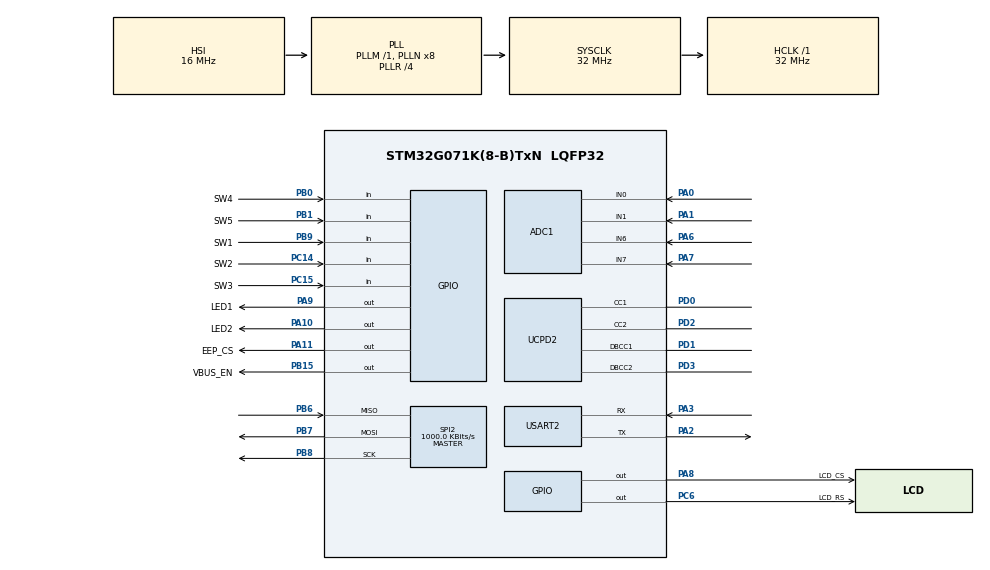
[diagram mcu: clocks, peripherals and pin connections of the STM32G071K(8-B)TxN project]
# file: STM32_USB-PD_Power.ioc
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ADC1.Channel-0\#ChannelRegularConversion=ADC_CHANNEL_0
ADC1.ClockPrescaler=ADC_CLOCK_ASYNC_DIV4
ADC1.NbrOfConversion=1
ADC1.NbrOfConversionFlag=1
ADC1.OversamplingMode=ENABLE
ADC1.Rank-0\#ChannelRegularConversion=1
ADC1.Ratio=ADC_OVERSAMPLING_RATIO_16
ADC1.RightBitShift=ADC_RIGHTBITSHIFT_4
ADC1.SamplingTime-0\#ChannelRegularConversion=ADC_SAMPLINGTIME_COMMON_1
ADC1.SamplingTimeCommon1=ADC_SAMPLETIME_79CYCLES_5
ADC1.SelectedChannel=ADC_CHANNEL_0|ADC_CHANNEL_1|ADC_CHANNEL_6|ADC_CHANNEL_7|ADC_CHANNEL_VREFINT
ADC1.master=1
Dma.Request0=UCPD2_RX
Dma.Request1=UCPD2_TX
Dma.Request2=USART2_TX
Dma.UCPD2_RX.0.Direction=DMA_PERIPH_TO_MEMORY
Dma.UCPD2_RX.0.EventEnable=DISABLE
Dma.UCPD2_RX.0.Instance=DMA1_Channel1
Dma.UCPD2_RX.0.MemDataAlignment=DMA_MDATAALIGN_BYTE
Dma.UCPD2_RX.0.MemInc=DMA_MINC_ENABLE
Dma.UCPD2_RX.0.Mode=DMA_NORMAL
Dma.UCPD2_RX.0.PeriphDataAlignment=DMA_PDATAALIGN_BYTE
Dma.UCPD2_RX.0.PeriphInc=DMA_PINC_DISABLE
Dma.UCPD2_RX.0.Polarity=HAL_DMAMUX_REQ_GEN_RISING
Dma.UCPD2_RX.0.Priority=DMA_PRIORITY_LOW
Dma.UCPD2_RX.0.RequestNumber=1
Dma.UCPD2_RX.0.SignalID=NONE
Dma.UCPD2_RX.0.SyncEnable=DISABLE
Dma.UCPD2_RX.0.SyncPolarity=HAL_DMAMUX_SYNC_NO_EVENT
Dma.UCPD2_RX.0.SyncRequestNumber=1
Dma.UCPD2_RX.0.SyncSignalID=NONE
Dma.UCPD2_TX.1.Direction=DMA_MEMORY_TO_PERIPH
Dma.UCPD2_TX.1.EventEnable=DISABLE
Dma.UCPD2_TX.1.Instance=DMA1_Channel2
Dma.UCPD2_TX.1.MemDataAlignment=DMA_MDATAALIGN_BYTE
Dma.UCPD2_TX.1.MemInc=DMA_MINC_ENABLE
Dma.UCPD2_TX.1.Mode=DMA_NORMAL
Dma.UCPD2_TX.1.PeriphDataAlignment=DMA_PDATAALIGN_BYTE
Dma.UCPD2_TX.1.PeriphInc=DMA_PINC_DISABLE
Dma.UCPD2_TX.1.Polarity=HAL_DMAMUX_REQ_GEN_RISING
Dma.UCPD2_TX.1.Priority=DMA_PRIORITY_LOW
Dma.UCPD2_TX.1.RequestNumber=1
Dma.UCPD2_TX.1.SignalID=NONE
Dma.UCPD2_TX.1.SyncEnable=DISABLE
Dma.UCPD2_TX.1.SyncPolarity=HAL_DMAMUX_SYNC_NO_EVENT
Dma.UCPD2_TX.1.SyncRequestNumber=1
Dma.UCPD2_TX.1.SyncSignalID=NONE
Dma.USART2_TX.2.Direction=DMA_MEMORY_TO_PERIPH
Dma.USART2_TX.2.EventEnable=DISABLE
Dma.USART2_TX.2.Instance=DMA1_Channel4
Dma.USART2_TX.2.MemDataAlignment=DMA_MDATAALIGN_BYTE
Dma.USART2_TX.2.MemInc=DMA_MINC_ENABLE
Dma.USART2_TX.2.Mode=DMA_NORMAL
Dma.USART2_TX.2.PeriphDataAlignment=DMA_PDATAALIGN_BYTE
Dma.USART2_TX.2.PeriphInc=DMA_PINC_DISABLE
Dma.USART2_TX.2.Polarity=HAL_DMAMUX_REQ_GEN_RISING
Dma.USART2_TX.2.Priority=DMA_PRIORITY_LOW
Dma.USART2_TX.2.RequestNumber=1
Dma.USART2_TX.2.SignalID=NONE
Dma.USART2_TX.2.SyncEnable=DISABLE
Dma.USART2_TX.2.SyncPolarity=HAL_DMAMUX_SYNC_NO_EVENT
Dma.USART2_TX.2.SyncRequestNumber=1
Dma.USART2_TX.2.SyncSignalID=NONE
FREERTOS.Tasks01=defaultTask,0,128,StartDefaultTask,Default,NULL,Dynamic,NULL,NULL
FREERTOS.configTOTAL_HEAP_SIZE=7000
FREERTOS.configUSE_NEWLIB_REENTRANT=1
Mcu.Family=STM32G0
Mcu.Name=STM32G071K(8-B)TxN
Mcu.Package=LQFP32
NVIC.ADC1_COMP_IRQn=true\:3\:0\:false\:false\:true\:true\:true\:true\:true
NVIC.DMA1_Ch4_7_DMAMUX1_OVR_IRQn=true\:0\:0\:false\:false\:true\:false\:false\:true\:true
NVIC.DMA1_Channel1_IRQn=true\:3\:0\:false\:false\:true\:true\:false\:true\:true
NVIC.DMA1_Channel2_3_IRQn=true\:3\:0\:false\:false\:true\:true\:false\:true\:true
NVIC.SPI2_IRQn=true\:3\:0\:false\:false\:true\:true\:true\:true\:true
NVIC.TIM2_IRQn=true\:3\:0\:false\:false\:true\:true\:true\:true\:true
NVIC.UCPD1_2_IRQn=true\:3\:0\:false\:false\:true\:true\:true\:false\:true
NVIC.USART2_IRQn=true\:3\:0\:false\:false\:true\:true\:true\:true\:true
PA0.Mode=IN0
PA0.Signal=ADC1_IN0
PA1.Mode=IN1
PA1.Signal=ADC1_IN1
PA10.GPIO_Label=LED2
PA10.Signal=GPIO_Output
PA11\ [PA9].GPIO_Label=EEP_CS
PA11\ [PA9].PinState=GPIO_PIN_RESET
PA11\ [PA9].Signal=GPIO_Output
PA13.Mode=Serial_Wire
PA13.Signal=SYS_SWDIO
PA14-BOOT0.Mode=Serial_Wire
PA14-BOOT0.Signal=SYS_SWCLK
PA2.Mode=Asynchronous
PA2.Signal=USART2_TX
PA3.Mode=Asynchronous
PA3.Signal=USART2_RX
PA6.Mode=IN6
PA6.Signal=ADC1_IN6
PA7.Mode=IN7
PA7.Signal=ADC1_IN7
PA8.GPIO_Label=LCD_CS
PA8.PinState=GPIO_PIN_SET
PA8.Signal=GPIO_Output
PA9.GPIO_Label=LED1
PA9.Signal=GPIO_Output
PB0.GPIO_Label=SW4
PB0.GPIO_PuPd=GPIO_PULLUP
PB0.Signal=GPIO_Input
PB1.GPIO_Label=SW5
PB1.GPIO_PuPd=GPIO_PULLUP
PB1.Signal=GPIO_Input
PB15.GPIO_Label=VBUS_EN
PB15.Signal=GPIO_Output
PB6.Mode=Full_Duplex_Master
PB6.Signal=SPI2_MISO
PB7.Mode=Full_Duplex_Master
PB7.Signal=SPI2_MOSI
PB8.Mode=Full_Duplex_Master
PB8.Signal=SPI2_SCK
PB9.GPIO_Label=SW1
PB9.GPIO_PuPd=GPIO_PULLUP
PB9.Signal=GPIO_Input
PC14-OSC32_IN\ (PC14).GPIO_Label=SW2
PC14-OSC32_IN\ (PC14).GPIO_PuPd=GPIO_PULLUP
PC14-OSC32_IN\ (PC14).Signal=GPIO_Input
PC15-OSC32_OUT\ (PC15).GPIO_Label=SW3
PC15-OSC32_OUT\ (PC15).GPIO_PuPd=GPIO_PULLUP
PC15-OSC32_OUT\ (PC15).Signal=GPIO_Input
PC6.GPIO_Label=LCD_RS
PC6.Signal=GPIO_Output
PD0.Mode=Sink_AllSignals
PD0.Signal=UCPD2_CC1
PD1.Mode=EnableDeadBattery
PD1.Signal=UCPD2_DBCC1
PD2.Mode=Sink_AllSignals
PD2.Signal=UCPD2_CC2
PD3.Mode=EnableDeadBattery
PD3.Signal=UCPD2_DBCC2
ProjectManager.HeapSize=0x200
ProjectManager.StackSize=0x1000
ProjectManager.TargetToolchain=STM32CubeIDE
RCC.ADCFreq_Value=32000000
RCC.AHBFreq_Value=32000000
RCC.CortexFreq_Value=32000000
RCC.EXTERNAL_CLOCK_VALUE=48000
RCC.HCLKFreq_Value=32000000
RCC.HSE_VALUE=8000000
RCC.HSI_VALUE=16000000
RCC.LSE_VALUE=32768
RCC.PLLR=RCC_PLLR_DIV4
RCC.SYSCLKFreq_VALUE=32000000
RCC.SYSCLKSource=RCC_SYSCLKSOURCE_PLLCLK
RCC.VCOOutputFreq_Value=128000000
SPI2.BaudRatePrescaler=SPI_BAUDRATEPRESCALER_32
SPI2.CLKPhase=SPI_PHASE_2EDGE
SPI2.CLKPolarity=SPI_POLARITY_HIGH
SPI2.CalculateBaudRate=1000.0 KBits/s
SPI2.DataSize=SPI_DATASIZE_8BIT
SPI2.Direction=SPI_DIRECTION_2LINES
SPI2.Mode=SPI_MODE_MASTER
SPI2.VirtualType=VM_MASTER
TIM2.Period=3200000
USART2.VirtualMode-Asynchronous=VM_ASYNC
VP_ADC1_Vref_Input.Mode=IN-Vrefint
VP_FREERTOS_VS_CMSIS_V1.Mode=CMSIS_V1
VP_SYS_VS_DBSignals.Mode=DisableDeadBatterySignals
VP_TIM2_VS_ClockSourceINT.Mode=Internal
VP_TRACER_EMB_VS_traceremb_usart2.Mode=TRACER_EMB_USART2
VP_USBPD_VS_PD3FULL.Mode=PD3_Full_Stack
VP_USBPD_VS_USBPD2.Mode=USBPD_P0
VP_USBPD_VS_usbpd_tim1.Mode=TIM1
VP_USBPD_VS_usbpd_traceremb.Mode=TRACER_EMB
board=custom

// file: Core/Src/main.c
/* USER CODE BEGIN Header */
/**
  ******************************************************************************
  * @file           : main.c
  * @brief          : Main program body
  ******************************************************************************
  * @attention
  *
  * Copyright (c) 2023 STMicroelectronics.
  * All rights reserved.
  *
  * This software is licensed under terms that can be found in the LICENSE file
  * in the root directory of this software component.
  * If no LICENSE file comes with this software, it is provided AS-IS.
  *
  ******************************************************************************
  *
  * [23/06/28] Modified by H.Yamada
  * rev_c1815@yahoo.co.jp
  *
  */
/* USER CODE END Header */
#include "main.h"
#include "cmsis_os.h"
#include "usbpd.h"

/* USER CODE BEGIN Includes */
#include "string.h"
#include "AQM1248_Driver.h"
/* USER CODE END Includes */

ADC_HandleTypeDef hadc1;

SPI_HandleTypeDef hspi2;

TIM_HandleTypeDef htim2;

UART_HandleTypeDef huart2;
DMA_HandleTypeDef hdma_usart2_tx;

osThreadId defaultTaskHandle;
/* USER CODE BEGIN PV */

uint8_t  g_receivedPDOSize, g_receivedFirstAPDOIdx;
USBPD_PDO_TypeDef g_receivedPDO[16];

uint8_t g_curRequestPDOIndex; //  (object position of PDO) - 1
// g_curRequestPDOIndex is determined and updated by USBPD_DPM_SNK_EvaluateCapabilities() function.
// do not change at main routine. just change g_fixedVoltageLevel

USBPD_SNKRDO_TypeDef g_curActiveRDO;
uint8_t  g_isPPSMode; // set when launched or PDO received
uint16_t g_fixedVoltageLevel; // mV
uint16_t g_ppsVoltageRange[2], g_ppsVoltageLevel; // min, max. in mV

volatile uint8_t g_ledState;
uint8_t g_srcPDOReceived;

void SetPPSVoltageLevel(uint16_t newLevel)
{
	g_ppsVoltageLevel = newLevel;
	// store to EEPROM
}
/*
void CurRDO_SetVoltage(uint16_t newVoltage)
{
	if(!IS_PPS_MODE()) return;
	g_curActiveRDO.ProgRDO.OutputVoltageIn20mV = newVoltage/20;
}*/
uint16_t CurRDO_GetVoltage()
{
	if(!IS_PPS_MODE()) {
		return g_receivedPDO[g_curRequestPDOIndex].SRCFixedPDO.VoltageIn50mVunits * 50;
	}
	else
	{
		return g_curActiveRDO.ProgRDO.OutputVoltageIn20mV * 20;
	}
}

uint16_t CurRDO_GetCurrent()
{
	if(!IS_PPS_MODE()) {
		return g_receivedPDO[g_curRequestPDOIndex].SRCFixedPDO.MaxCurrentIn10mAunits * 10;
	}
	else
	{
		return g_curActiveRDO.ProgRDO.OperatingCurrentIn50mAunits * 50;
	}
}

//#define VREF_VOLTAGE 3300
static uint16_t GetVREFVoltage()
{
	// VREF+: unknown, range of 2.0V - 3.3V
	uint16_t vrefVoltage = 2000;
	if(g_adcData[3]){
		vrefVoltage = 1212 * 4096 / g_adcData[3];
	}
	return vrefVoltage;
}
#define DIVIDER_RATIO 11 // External voltage divider ratio
uint16_t GetVBUSVoltage() // result is in 10 mV scale
{

	uint16_t ret = (uint32_t)g_adcData[0] * GetVREFVoltage() / 4096 * DIVIDER_RATIO / 10;
	return ret;
}
#define CURRENT_AMP_RATIO 1 // 1V/1A
uint16_t GetVBUSCurrent() // result is in 1 mA scale
{
	uint16_t ret = (uint32_t)g_adcData[2] * GetVREFVoltage() / 4096 * CURRENT_AMP_RATIO;
	return ret;
}

USBPD_StatusTypeDef SendRequest()
{
//	return USBPD_DPM_RequestMessageRequest(0, g_curRequestPDOIndex, 0 ); // Request
	return USBPD_DPM_RequestGetSourceCapability(0); // Source_Cap -> Request
}

// EEPROM Load & Save
struct sEEPData
{
	uint8_t ppsMode; // last time was it pps mode ?
	uint16_t ppsVoltage;
	uint16_t fixedVoltage;
};
// EEPROM AT93C56 (256x8)
// Command length: (4bit 0) + 3bit command + 9bit address + 8bit data
void EEPROM_WriteEnable()
{
	uint8_t txData[3] = {0x09, 0x80, 0x00};
	HAL_GPIO_WritePin(EEP_CS_GPIO_Port, EEP_CS_Pin, GPIO_PIN_SET);
	HAL_SPI_Transmit(&hspi2, txData, 3, 100);
//	HAL_SPI_Transmit_IT(&hspi2, txData, 3);
	HAL_GPIO_WritePin(EEP_CS_GPIO_Port, EEP_CS_Pin, GPIO_PIN_RESET);
}
void EEPROM_WriteDisable()
{
	uint8_t txData[3] = {0x08, 0x00, 0x00};
	HAL_GPIO_WritePin(EEP_CS_GPIO_Port, EEP_CS_Pin, GPIO_PIN_SET);
	HAL_SPI_Transmit(&hspi2, txData, 3, 100);
//	HAL_SPI_Transmit_IT(&hspi2, txData, 3);
	HAL_GPIO_WritePin(EEP_CS_GPIO_Port, EEP_CS_Pin, GPIO_PIN_RESET);
}
void EEPROM_Write(uint16_t addr, uint8_t data)
{
	HAL_GPIO_WritePin(EEP_CS_GPIO_Port, EEP_CS_Pin, GPIO_PIN_SET);
	uint8_t txData[3] = {0x0A | ((addr >> 8) & 1), addr, data};
//	uint8_t txData[3] = {0xA0 | 0, data>>4, data<<4};
//	uint8_t txData[3] = {0x0A, 0, data};
	HAL_SPI_Transmit(&hspi2, txData, 3, 100);
//	HAL_SPI_Transmit_IT(&hspi2, txData, 3);

	HAL_GPIO_WritePin(EEP_CS_GPIO_Port, EEP_CS_Pin, GPIO_PIN_RESET);
	// tWP: max. 10ms
	osDelay(10);
}
uint8_t EEPROM_Read(uint16_t addr)
{
	HAL_GPIO_WritePin(EEP_CS_GPIO_Port, EEP_CS_Pin, GPIO_PIN_SET);
	uint8_t txData[3] = {(0x0C<<1) | ((addr >> 7) & 3), (addr << 1), 0};
//	uint8_t txData[3] = {0xC0 | ((addr >> 8) & 1), addr, 0};
	uint8_t rxData[3];
	HAL_SPI_TransmitReceive(&hspi2, txData, rxData, 3, 100);
//	HAL_SPI_TransmitReceive_IT(&hspi2, txData, rxData, 3);

	HAL_GPIO_WritePin(EEP_CS_GPIO_Port, EEP_CS_Pin, GPIO_PIN_RESET);
	return rxData[2];
//	return (rxData[1] << 4) | (rxData[2] >> 4);
}
void EEPROM_Save(const struct sEEPData* pData)
{
	// set CPOL=0, CPHA=0
//	uint32_t cr1_restore = hspi2.Instance->CR1;
//	hspi2.Instance->CR1 &= ~0x03;
//	HAL_SPI_Transmit(&hspi2, (uint8_t*)pData, 1, 100); // dummy

	EEPROM_WriteEnable();

	// update checksum
	uint8_t cs = 0;
	uint8_t* p = (uint8_t*)pData;
	uint16_t i;
	for(i=0; i<sizeof(struct sEEPData); i++) cs += p[i];
	EEPROM_Write(0x00, ~cs);

	for(i=0; i<sizeof(struct sEEPData); i++)
	{
		EEPROM_Write(0x02 + i, p[i]);
	}

	EEPROM_WriteDisable();

	// restore
//	hspi2.Instance->CR1 = cr1_restore;
//	HAL_SPI_Transmit(&hspi2, (uint8_t*)pData, 1, 100); // dummy
}
uint8_t g_cs;
uint8_t EEPROM_Load(struct sEEPData* pData)
{
	// set CPOL=0, CPHA=0
//	uint32_t cr1_restore = hspi2.Instance->CR1;
//	hspi2.Instance->CR1 &= ~0x03;
//	HAL_SPI_Transmit(&hspi2, (uint8_t*)pData, 1, 100); // dummy

	struct sEEPData temp;
	uint8_t cs_read = ~EEPROM_Read(0x00);
	uint16_t i;
	uint8_t cs = 0;
	uint8_t* p = (uint8_t*)&temp;
	for(i=0; i<sizeof(temp); i++)
	{
		cs += p[i] = EEPROM_Read(0x02 + i);
	}

	g_cs = cs_read;

	// restore
//	hspi2.Instance->CR1 = cr1_restore;
//	HAL_SPI_Transmit(&hspi2, (uint8_t*)pData, 1, 100); // dummy

	// Checksum
	if(cs == cs_read) *pData = temp;
	else return -1;
	return 0;
}

// Switch handler
void SwitchHandler(uint8_t swState)
{
	static uint8_t outEnable;

	char text[64];
	switch(swState)
	{
	case (SW_SW1 | SW_LONG):
		outEnable ^= 1;
//		HAL_GPIO_WritePin(LED3_GPIO_Port, LED3_Pin,
//				(outEnable)? GPIO_PIN_SET: GPIO_PIN_RESET);
		HAL_GPIO_WritePin(VBUS_EN_GPIO_Port, VBUS_EN_Pin,
				(outEnable)? GPIO_PIN_SET: GPIO_PIN_RESET);
		break;
	case (SW_SW2 | SW_PUSHING):
		if(IS_PPS_MODE())
		{
			// PPS
			if(HAL_GPIO_ReadPin(SW5_GPIO_Port, SW5_Pin) == GPIO_PIN_RESET ||
					outEnable == 0) // Voltage change is allowed
			{
				// Increase voltage
				uint16_t newVoltage = (g_ppsVoltageLevel + 100)/100 * 100;
				if(newVoltage <= g_ppsVoltageRange[1])
				{
					SetPPSVoltageLevel(newVoltage);
					SendRequest();
					//USBPD_DPM_RequestGetSourceCapability(0); //
				}
			}
		}
		break;
	case SW_SW2: // +
		if(IS_PPS_MODE())
		{
			// PPS
			if(HAL_GPIO_ReadPin(SW5_GPIO_Port, SW5_Pin) == GPIO_PIN_RESET ||
					outEnable == 0) // Voltage change is allowed
			{
				// Increase voltage
				uint16_t newVoltage = g_ppsVoltageLevel + 20;
				if(newVoltage <= g_ppsVoltageRange[1])
				{
					SetPPSVoltageLevel(newVoltage);
					SendRequest();
					//USBPD_DPM_RequestGetSourceCapability(0); //
				}
			}
		}
		else
		{
			// Fixed voltage
			if(outEnable == 0) // Voltage change is allowed
			{
				// Change VBUS Voltage
				if(g_curRequestPDOIndex < g_receivedPDOSize - 1)
				{
					//g_curRequestPDOIndex = (g_curRequestPDOIndex + 1) % g_receivedFirstAPDOIdx;
					if(g_receivedPDO[g_curRequestPDOIndex + 1].GenericPDO.PowerObject == USBPD_CORE_PDO_TYPE_FIXED)
					{
						g_fixedVoltageLevel = g_receivedPDO[g_curRequestPDOIndex + 1].SRCFixedPDO.VoltageIn50mVunits * 50;// just change g_fixedVoltageLevel

						// Requst to send Request message
						SendRequest();
					}
				}
				// Request to send GetSouceCapability for new evaluates
				//USBPD_DPM_RequestGetSourceCapability(0); //
			}
		}
	//	sprintf(text, "PDO Size=%d, PDO[0] = %08X",
	//			g_receivedPDOSize, g_receivedPDO[0]);
	//	USBPD_TRACE_Add(USBPD_TRACE_DEBUG, 0, 0, text, strlen(text)); // trace test
		break;
	case (SW_SW3 | SW_PUSHING):
		if(IS_PPS_MODE())
		{
			// PPS
			if(HAL_GPIO_ReadPin(SW5_GPIO_Port, SW5_Pin) == GPIO_PIN_RESET ||
					outEnable == 0) // Voltage change is allowed
			{
				// Increase voltage
				uint16_t newVoltage = (g_ppsVoltageLevel - 100) / 100 * 100;
				if(newVoltage >= g_ppsVoltageRange[0])
				{
					SetPPSVoltageLevel(newVoltage);
					SendRequest();
				}
			}
		}
		break;
	case SW_SW3: // -
		if(IS_PPS_MODE())
		{
			// PPS
			if(HAL_GPIO_ReadPin(SW5_GPIO_Port, SW5_Pin) == GPIO_PIN_RESET ||
					outEnable == 0) // Voltage change is allowed
			{
				// Increase voltage
				uint16_t newVoltage = g_ppsVoltageLevel - 20;
				if(newVoltage >= g_ppsVoltageRange[0])
				{
					SetPPSVoltageLevel(newVoltage);
					SendRequest();
				}
			}
		}
		else
		{
			// Fixed voltage
			if(outEnable == 0) // Voltage change is allowed
			{
				// Change VBUS Voltage
				if(g_curRequestPDOIndex)
				{
					// change request voltage level
					g_fixedVoltageLevel = g_receivedPDO[g_curRequestPDOIndex - 1].SRCFixedPDO.VoltageIn50mVunits * 50;

					// Requst to send Request message
					SendRequest();
				}
				//g_curRequestPDOIndex = g_curRequestPDOIndex? (g_curRequestPDOIndex - 1): 0;

				// Request to send GetSouceCapability for new evaluates
				//USBPD_DPM_RequestGetSourceCapability(0); //
			}
		}
		break;
	case SW_SW4:
		g_dispInfo.displayState ^= 1;

		// Show ADC Data
		//sprintf(text, "ADC=%d,%d,%d,%d",
		//		g_adcData[0], g_adcData[1], g_adcData[2], g_adcData[3]);
		//USBPD_TRACE_Add(USBPD_TRACE_DEBUG, 0, 0, text, strlen(text)); // trace test

		// Show VBUS Voltage
		/*
		{
			uint16_t vbus = GetVBUSVoltage();
			sprintf(text, "VBUS = %01d.%02dV",
					vbus/100, vbus%100);
		}
		USBPD_TRACE_Add(USBPD_TRACE_DEBUG, 0, 0, text, strlen(text)); // trace test
		*/

		// Change VBUS Voltage
		//g_curRequestPDOIndex ^= 1;
		// Requst to send Request message
		//USBPD_DPM_RequestMessageRequest(0, g_curRequestPDOIndex, 0 );
		//USBPD_DPM_RequestGetSourceCapability(0); //

		break;
	}
	// Store new voltage level to eeprom
	if((swState & 0xF) == SW_SW3 || (swState & 0xF) == SW_SW2) // - or +
	{
		struct sEEPData eep;
		eep.ppsMode = g_isPPSMode;
		eep.fixedVoltage = g_fixedVoltageLevel;
		eep.ppsVoltage   = g_ppsVoltageLevel;
		EEPROM_Save(&eep);
	}
}

/* USER CODE END PV */

void SystemClock_Config(void);
static void MX_GPIO_Init(void);
static void MX_DMA_Init(void);
static void MX_UCPD2_Init(void);
static void MX_ADC1_Init(void);
static void MX_SPI2_Init(void);
static void MX_TIM2_Init(void);
static void MX_USART2_UART_Init(void);
void StartDefaultTask(void const * argument);

/* USER CODE BEGIN PFP */

uint32_t g_lastTick;
volatile uint8_t g_swState;

struct sPDDisplayInfo g_dispInfo;
/* USER CODE END PFP */

int main(void)
{

  /* MCU Configuration--------------------------------------------------------*/

  /* Reset of all peripherals, Initializes the Flash interface and the Systick. */
  HAL_Init();

  /* Configure the system clock */
  SystemClock_Config();

  /* Initialize all configured peripherals */
  MX_GPIO_Init();
  MX_DMA_Init();
  MX_UCPD2_Init();
  MX_ADC1_Init();
  MX_SPI2_Init();
  MX_TIM2_Init();
  MX_USART2_UART_Init();
  /* USER CODE BEGIN 2 */

  g_dispInfo.curVoltage = 0;
  g_dispInfo.curCurrent = 0;
  g_dispInfo.pdVersion = 2;
  g_dispInfo.pdStatus = 0;
  g_dispInfo.displayState = 0;
  g_dispInfo.ccStatus = 0;

  g_ledState = LED_STATE_BLINK_RED;

  // call before ADC conversion has started
  HAL_ADCEx_Calibration_Start(&hadc1);

  // Start Timer 2 in Interrupt Mode (invokes ADC starting)
  // (Timer does not start unless user writes code for it)
  HAL_TIM_Base_Start_IT(&htim2);

  AQM1248_Init();

  g_lastTick = HAL_GetTick();
  if(1)
  {
	  struct sEEPData eep;
	  if(EEPROM_Load(&eep) == 0)
	  {
		  g_ppsVoltageLevel = eep.ppsVoltage;
		  g_fixedVoltageLevel = eep.fixedVoltage;
	  }
	  else
	  {
		AQM1248_Clear();
		//                123456789012345678901234567890
		AQM1248_DrawText("EEPROM load failed.", 0, 2);
		  while(HAL_GetTick() < g_lastTick + 1000);
	  }
  }
  else
  {

	  g_fixedVoltageLevel = 9000;
  }

  /* USER CODE END 2 */

  /* USBPD initialisation ---------------------------------*/
  MX_USBPD_Init();

  /* Create the thread(s) */
  /* definition and creation of defaultTask */
  osThreadDef(defaultTask, StartDefaultTask, osPriorityNormal, 0, 128);
  defaultTaskHandle = osThreadCreate(osThread(defaultTask), NULL);

  /* Start scheduler */
  osKernelStart();
  /* We should never get here as control is now taken by the scheduler */
  /* Infinite loop */
  while (1)
  {

  }
}

void SystemClock_Config(void)
{
  RCC_OscInitTypeDef RCC_OscInitStruct = {0};
  RCC_ClkInitTypeDef RCC_ClkInitStruct = {0};

  /** Configure the main internal regulator output voltage
  */
  HAL_PWREx_ControlVoltageScaling(PWR_REGULATOR_VOLTAGE_SCALE1);

  /** Initializes the RCC Oscillators according to the specified parameters
  * in the RCC_OscInitTypeDef structure.
  */
  RCC_OscInitStruct.OscillatorType = RCC_OSCILLATORTYPE_HSI;
  RCC_OscInitStruct.HSIState = RCC_HSI_ON;
  RCC_OscInitStruct.HSIDiv = RCC_HSI_DIV1;
  RCC_OscInitStruct.HSICalibrationValue = RCC_HSICALIBRATION_DEFAULT;
  RCC_OscInitStruct.PLL.PLLState = RCC_PLL_ON;
  RCC_OscInitStruct.PLL.PLLSource = RCC_PLLSOURCE_HSI;
  RCC_OscInitStruct.PLL.PLLM = RCC_PLLM_DIV1;
  RCC_OscInitStruct.PLL.PLLN = 8;
  RCC_OscInitStruct.PLL.PLLP = RCC_PLLP_DIV2;
  RCC_OscInitStruct.PLL.PLLQ = RCC_PLLQ_DIV2;
  RCC_OscInitStruct.PLL.PLLR = RCC_PLLR_DIV4;
  if (HAL_RCC_OscConfig(&RCC_OscInitStruct) != HAL_OK)
  {
    Error_Handler();
  }

  /** Initializes the CPU, AHB and APB buses clocks
  */
  RCC_ClkInitStruct.ClockType = RCC_CLOCKTYPE_HCLK|RCC_CLOCKTYPE_SYSCLK
                              |RCC_CLOCKTYPE_PCLK1;
  RCC_ClkInitStruct.SYSCLKSource = RCC_SYSCLKSOURCE_PLLCLK;
  RCC_ClkInitStruct.AHBCLKDivider = RCC_SYSCLK_DIV1;
  RCC_ClkInitStruct.APB1CLKDivider = RCC_HCLK_DIV1;

  if (HAL_RCC_ClockConfig(&RCC_ClkInitStruct, FLASH_LATENCY_1) != HAL_OK)
  {
    Error_Handler();
  }
}

static void MX_ADC1_Init(void)
{

  ADC_ChannelConfTypeDef sConfig = {0};

  /** Configure the global features of the ADC (Clock, Resolution, Data Alignment and number of conversion)
  */
  hadc1.Instance = ADC1;
  hadc1.Init.ClockPrescaler = ADC_CLOCK_ASYNC_DIV4;
  hadc1.Init.Resolution = ADC_RESOLUTION_12B;
  hadc1.Init.DataAlign = ADC_DATAALIGN_RIGHT;
  hadc1.Init.ScanConvMode = ADC_SCAN_DISABLE;
  hadc1.Init.EOCSelection = ADC_EOC_SINGLE_CONV;
  hadc1.Init.LowPowerAutoWait = DISABLE;
  hadc1.Init.LowPowerAutoPowerOff = DISABLE;
  hadc1.Init.ContinuousConvMode = DISABLE;
  hadc1.Init.NbrOfConversion = 1;
  hadc1.Init.DiscontinuousConvMode = DISABLE;
  hadc1.Init.ExternalTrigConv = ADC_SOFTWARE_START;
  hadc1.Init.ExternalTrigConvEdge = ADC_EXTERNALTRIGCONVEDGE_NONE;
  hadc1.Init.DMAContinuousRequests = DISABLE;
  hadc1.Init.Overrun = ADC_OVR_DATA_PRESERVED;
  hadc1.Init.SamplingTimeCommon1 = ADC_SAMPLETIME_79CYCLES_5;
  hadc1.Init.SamplingTimeCommon2 = ADC_SAMPLETIME_1CYCLE_5;
  hadc1.Init.OversamplingMode = ENABLE;
  hadc1.Init.Oversampling.Ratio = ADC_OVERSAMPLING_RATIO_16;
  hadc1.Init.Oversampling.RightBitShift = ADC_RIGHTBITSHIFT_4;
  hadc1.Init.Oversampling.TriggeredMode = ADC_TRIGGEREDMODE_SINGLE_TRIGGER;
  hadc1.Init.TriggerFrequencyMode = ADC_TRIGGER_FREQ_HIGH;
  if (HAL_ADC_Init(&hadc1) != HAL_OK)
  {
    Error_Handler();
  }

  /** Configure Regular Channel
  */
  sConfig.Channel = ADC_CHANNEL_0;
  sConfig.Rank = ADC_REGULAR_RANK_1;
  sConfig.SamplingTime = ADC_SAMPLINGTIME_COMMON_1;
  if (HAL_ADC_ConfigChannel(&hadc1, &sConfig) != HAL_OK)
  {
    Error_Handler();
  }

}

static void MX_SPI2_Init(void)
{

  /* SPI2 parameter configuration*/
  hspi2.Instance = SPI2;
  hspi2.Init.Mode = SPI_MODE_MASTER;
  hspi2.Init.Direction = SPI_DIRECTION_2LINES;
  hspi2.Init.DataSize = SPI_DATASIZE_8BIT;
  hspi2.Init.CLKPolarity = SPI_POLARITY_HIGH;
  hspi2.Init.CLKPhase = SPI_PHASE_2EDGE;
  hspi2.Init.NSS = SPI_NSS_SOFT;
  hspi2.Init.BaudRatePrescaler = SPI_BAUDRATEPRESCALER_32;
  hspi2.Init.FirstBit = SPI_FIRSTBIT_MSB;
  hspi2.Init.TIMode = SPI_TIMODE_DISABLE;
  hspi2.Init.CRCCalculation = SPI_CRCCALCULATION_DISABLE;
  hspi2.Init.CRCPolynomial = 7;
  hspi2.Init.CRCLength = SPI_CRC_LENGTH_DATASIZE;
  hspi2.Init.NSSPMode = SPI_NSS_PULSE_DISABLE;
  if (HAL_SPI_Init(&hspi2) != HAL_OK)
  {
    Error_Handler();
  }

}

static void MX_TIM2_Init(void)
{

  TIM_ClockConfigTypeDef sClockSourceConfig = {0};
  TIM_MasterConfigTypeDef sMasterConfig = {0};

  htim2.Instance = TIM2;
  htim2.Init.Prescaler = 0;
  htim2.Init.CounterMode = TIM_COUNTERMODE_UP;
  htim2.Init.Period = 3200000;
  htim2.Init.ClockDivision = TIM_CLOCKDIVISION_DIV1;
  htim2.Init.AutoReloadPreload = TIM_AUTORELOAD_PRELOAD_DISABLE;
  if (HAL_TIM_Base_Init(&htim2) != HAL_OK)
  {
    Error_Handler();
  }
  sClockSourceConfig.ClockSource = TIM_CLOCKSOURCE_INTERNAL;
  if (HAL_TIM_ConfigClockSource(&htim2, &sClockSourceConfig) != HAL_OK)
  {
    Error_Handler();
  }
  sMasterConfig.MasterOutputTrigger = TIM_TRGO_RESET;
  sMasterConfig.MasterSlaveMode = TIM_MASTERSLAVEMODE_DISABLE;
  if (HAL_TIMEx_MasterConfigSynchronization(&htim2, &sMasterConfig) != HAL_OK)
  {
    Error_Handler();
  }

}

static void MX_UCPD2_Init(void)
{

  LL_GPIO_InitTypeDef GPIO_InitStruct = {0};

  /* Peripheral clock enable */
  LL_APB1_GRP1_EnableClock(LL_APB1_GRP1_PERIPH_UCPD2);

  LL_IOP_GRP1_EnableClock(LL_IOP_GRP1_PERIPH_GPIOD);
  /**UCPD2 GPIO Configuration
  PD0   ------> UCPD2_CC1
  PD2   ------> UCPD2_CC2
  */
  GPIO_InitStruct.Pin = LL_GPIO_PIN_0;
  GPIO_InitStruct.Mode = LL_GPIO_MODE_ANALOG;
  GPIO_InitStruct.Pull = LL_GPIO_PULL_NO;
  LL_GPIO_Init(GPIOD, &GPIO_InitStruct);

  GPIO_InitStruct.Pin = LL_GPIO_PIN_2;
  GPIO_InitStruct.Mode = LL_GPIO_MODE_ANALOG;
  GPIO_InitStruct.Pull = LL_GPIO_PULL_NO;
  LL_GPIO_Init(GPIOD, &GPIO_InitStruct);

  /* UCPD2 DMA Init */

  /* UCPD2_RX Init */
  LL_DMA_SetPeriphRequest(DMA1, LL_DMA_CHANNEL_1, LL_DMAMUX_REQ_UCPD2_RX);

  LL_DMA_SetDataTransferDirection(DMA1, LL_DMA_CHANNEL_1, LL_DMA_DIRECTION_PERIPH_TO_MEMORY);

  LL_DMA_SetChannelPriorityLevel(DMA1, LL_DMA_CHANNEL_1, LL_DMA_PRIORITY_LOW);

  LL_DMA_SetMode(DMA1, LL_DMA_CHANNEL_1, LL_DMA_MODE_NORMAL);

  LL_DMA_SetPeriphIncMode(DMA1, LL_DMA_CHANNEL_1, LL_DMA_PERIPH_NOINCREMENT);

  LL_DMA_SetMemoryIncMode(DMA1, LL_DMA_CHANNEL_1, LL_DMA_MEMORY_INCREMENT);

  LL_DMA_SetPeriphSize(DMA1, LL_DMA_CHANNEL_1, LL_DMA_PDATAALIGN_BYTE);

  LL_DMA_SetMemorySize(DMA1, LL_DMA_CHANNEL_1, LL_DMA_MDATAALIGN_BYTE);

  /* UCPD2_TX Init */
  LL_DMA_SetPeriphRequest(DMA1, LL_DMA_CHANNEL_2, LL_DMAMUX_REQ_UCPD2_TX);

  LL_DMA_SetDataTransferDirection(DMA1, LL_DMA_CHANNEL_2, LL_DMA_DIRECTION_MEMORY_TO_PERIPH);

  LL_DMA_SetChannelPriorityLevel(DMA1, LL_DMA_CHANNEL_2, LL_DMA_PRIORITY_LOW);

  LL_DMA_SetMode(DMA1, LL_DMA_CHANNEL_2, LL_DMA_MODE_NORMAL);

  LL_DMA_SetPeriphIncMode(DMA1, LL_DMA_CHANNEL_2, LL_DMA_PERIPH_NOINCREMENT);

  LL_DMA_SetMemoryIncMode(DMA1, LL_DMA_CHANNEL_2, LL_DMA_MEMORY_INCREMENT);

  LL_DMA_SetPeriphSize(DMA1, LL_DMA_CHANNEL_2, LL_DMA_PDATAALIGN_BYTE);

  LL_DMA_SetMemorySize(DMA1, LL_DMA_CHANNEL_2, LL_DMA_MDATAALIGN_BYTE);

  /* UCPD2 interrupt Init */
  NVIC_SetPriority(UCPD1_2_IRQn, 3);
  NVIC_EnableIRQ(UCPD1_2_IRQn);

}

static void MX_USART2_UART_Init(void)
{

  huart2.Instance = USART2;
  huart2.Init.BaudRate = 921600;
  huart2.Init.WordLength = UART_WORDLENGTH_8B;
  huart2.Init.StopBits = UART_STOPBITS_1;
  huart2.Init.Parity = UART_PARITY_NONE;
  huart2.Init.Mode = UART_MODE_TX_RX;
  huart2.Init.HwFlowCtl = UART_HWCONTROL_NONE;
  huart2.Init.OverSampling = UART_OVERSAMPLING_16;
  huart2.Init.OneBitSampling = UART_ONE_BIT_SAMPLE_DISABLE;
  huart2.Init.ClockPrescaler = UART_PRESCALER_DIV1;
  huart2.AdvancedInit.AdvFeatureInit = UART_ADVFEATURE_NO_INIT;
  if (HAL_UART_Init(&huart2) != HAL_OK)
  {
    Error_Handler();
  }
  if (HAL_UARTEx_SetTxFifoThreshold(&huart2, UART_TXFIFO_THRESHOLD_1_8) != HAL_OK)
  {
    Error_Handler();
  }
  if (HAL_UARTEx_SetRxFifoThreshold(&huart2, UART_RXFIFO_THRESHOLD_1_8) != HAL_OK)
  {
    Error_Handler();
  }
  if (HAL_UARTEx_DisableFifoMode(&huart2) != HAL_OK)
  {
    Error_Handler();
  }

}

static void MX_DMA_Init(void)
{

  /* DMA controller clock enable */
  __HAL_RCC_DMA1_CLK_ENABLE();

  /* DMA interrupt init */
  /* DMA1_Channel1_IRQn interrupt configuration */
  NVIC_SetPriority(DMA1_Channel1_IRQn, 3);
  NVIC_EnableIRQ(DMA1_Channel1_IRQn);
  /* DMA1_Channel2_3_IRQn interrupt configuration */
  NVIC_SetPriority(DMA1_Channel2_3_IRQn, 3);
  NVIC_EnableIRQ(DMA1_Channel2_3_IRQn);
  /* DMA1_Ch4_7_DMAMUX1_OVR_IRQn interrupt configuration */
  HAL_NVIC_SetPriority(DMA1_Ch4_7_DMAMUX1_OVR_IRQn, 0, 0);
  HAL_NVIC_EnableIRQ(DMA1_Ch4_7_DMAMUX1_OVR_IRQn);

}

static void MX_GPIO_Init(void)
{
  GPIO_InitTypeDef GPIO_InitStruct = {0};

  /* GPIO Ports Clock Enable */
  __HAL_RCC_GPIOB_CLK_ENABLE();
  __HAL_RCC_GPIOC_CLK_ENABLE();
  __HAL_RCC_GPIOA_CLK_ENABLE();
  __HAL_RCC_GPIOD_CLK_ENABLE();

  /*Configure GPIO pin Output Level */
  HAL_GPIO_WritePin(VBUS_EN_GPIO_Port, VBUS_EN_Pin, GPIO_PIN_RESET);

  /*Configure GPIO pin Output Level */
  HAL_GPIO_WritePin(LCD_CS_GPIO_Port, LCD_CS_Pin, GPIO_PIN_SET);

  /*Configure GPIO pin Output Level */
  HAL_GPIO_WritePin(GPIOA, LED1_Pin|LED2_Pin|EEP_CS_Pin, GPIO_PIN_RESET);

  /*Configure GPIO pin Output Level */
  HAL_GPIO_WritePin(LCD_RS_GPIO_Port, LCD_RS_Pin, GPIO_PIN_RESET);

  /*Configure GPIO pins : SW1_Pin SW4_Pin SW5_Pin */
  GPIO_InitStruct.Pin = SW1_Pin|SW4_Pin|SW5_Pin;
  GPIO_InitStruct.Mode = GPIO_MODE_INPUT;
  GPIO_InitStruct.Pull = GPIO_PULLUP;
  HAL_GPIO_Init(GPIOB, &GPIO_InitStruct);

  /*Configure GPIO pins : SW2_Pin SW3_Pin */
  GPIO_InitStruct.Pin = SW2_Pin|SW3_Pin;
  GPIO_InitStruct.Mode = GPIO_MODE_INPUT;
  GPIO_InitStruct.Pull = GPIO_PULLUP;
  HAL_GPIO_Init(GPIOC, &GPIO_InitStruct);

  /*Configure GPIO pin : VBUS_EN_Pin */
  GPIO_InitStruct.Pin = VBUS_EN_Pin;
  GPIO_InitStruct.Mode = GPIO_MODE_OUTPUT_PP;
  GPIO_InitStruct.Pull = GPIO_NOPULL;
  GPIO_InitStruct.Speed = GPIO_SPEED_FREQ_LOW;
  HAL_GPIO_Init(VBUS_EN_GPIO_Port, &GPIO_InitStruct);

  /*Configure GPIO pins : LCD_CS_Pin LED1_Pin LED2_Pin EEP_CS_Pin */
  GPIO_InitStruct.Pin = LCD_CS_Pin|LED1_Pin|LED2_Pin|EEP_CS_Pin;
  GPIO_InitStruct.Mode = GPIO_MODE_OUTPUT_PP;
  GPIO_InitStruct.Pull = GPIO_NOPULL;
  GPIO_InitStruct.Speed = GPIO_SPEED_FREQ_LOW;
  HAL_GPIO_Init(GPIOA, &GPIO_InitStruct);

  /*Configure GPIO pin : LCD_RS_Pin */
  GPIO_InitStruct.Pin = LCD_RS_Pin;
  GPIO_InitStruct.Mode = GPIO_MODE_OUTPUT_PP;
  GPIO_InitStruct.Pull = GPIO_NOPULL;
  GPIO_InitStruct.Speed = GPIO_SPEED_FREQ_LOW;
  HAL_GPIO_Init(LCD_RS_GPIO_Port, &GPIO_InitStruct);

}

void StartDefaultTask(void const * argument)
{
  /* USER CODE BEGIN 5 */
  /* Infinite loop */
  for(;;)
  {
	uint8_t swState = g_swState;
	g_swState = 0;
#if LED_DEBUG_MODE
	if(swState){
		HAL_GPIO_TogglePin(LED1_GPIO_Port, LED1_Pin);
	}
	else
	{
		HAL_GPIO_TogglePin(LED2_GPIO_Port, LED2_Pin);
	}
#endif
//#define LED_STATE_RED			1
//#define LED_STATE_GREEN			2
//#define LED_STATE_ORANGE		3
//#define LED_STATE_BLINK_RED		(8 | LED_STATE_RED)
//#define LED_STATE_BLINK_GREEN	(8 | LED_STATE_GREEN)
//#define LED_STATE_BLINK_ORANGE	(8 | LED_STATE_ORANGE)

	if(g_srcPDOReceived)
	{
		// First PDO received
		struct sEEPData eep;
		if(EEPROM_Load(&eep) == 0)
		{
			if(eep.ppsMode && (g_isPPSMode == 0))
			{
				// last time was PPS mode and now is fixed voltage mode
				AQM1248_Clear();
				//                1234567890123456789012345
				AQM1248_DrawText("Last time was on PPS but", 0, 0);
				AQM1248_DrawText("connected source does not", 0, 1);
				AQM1248_DrawText(" support PPS.", 0, 2);
				AQM1248_DrawText("Push SW to continue", 0, 3);
				while(g_swState == 0);
				g_swState = 0;
				eep.ppsMode = 0;
				EEPROM_Save(&eep);
			}
		}
		g_srcPDOReceived = 0;
	}

	// Write LED pin
	if(g_ledState & LED_STATE_BLINK)
	{
		static uint8_t a;
		if(g_ledState & LED_STATE_RED)
		{
			HAL_GPIO_WritePin(LED1_GPIO_Port, LED1_Pin, (a&1)? GPIO_PIN_SET: GPIO_PIN_RESET);
		}
		else
		{
			HAL_GPIO_WritePin(LED1_GPIO_Port, LED1_Pin, GPIO_PIN_RESET);
		}

		if(g_ledState & LED_STATE_GREEN)
		{
			HAL_GPIO_WritePin(LED2_GPIO_Port, LED2_Pin, (a&1)? GPIO_PIN_SET: GPIO_PIN_RESET);
		}
		else
		{
			HAL_GPIO_WritePin(LED2_GPIO_Port, LED2_Pin, GPIO_PIN_RESET);
		}
		a++;
	}
	else if(g_ledState)
	{
		HAL_GPIO_WritePin(LED1_GPIO_Port, LED1_Pin, (g_ledState & LED_STATE_RED)? GPIO_PIN_SET: GPIO_PIN_RESET);
		HAL_GPIO_WritePin(LED2_GPIO_Port, LED2_Pin, (g_ledState & LED_STATE_GREEN)? GPIO_PIN_SET: GPIO_PIN_RESET);
	}
	else
	{
		HAL_GPIO_WritePin(LED1_GPIO_Port, LED1_Pin, GPIO_PIN_RESET);
		HAL_GPIO_WritePin(LED2_GPIO_Port, LED2_Pin, GPIO_PIN_RESET);
	}

	SwitchHandler(swState);

	g_dispInfo.curVoltage = GetVBUSVoltage() * 10;
	g_dispInfo.curCurrent = GetVBUSCurrent();

	AQM1248_UpdateDisplay(&g_dispInfo);

	osDelay(100); // 100ms delay
  }
  /* USER CODE END 5 */
}

void Error_Handler(void)
{
  /* USER CODE BEGIN Error_Handler_Debug */
  /* User can add his own implementation to report the HAL error return state */
  __disable_irq();
  while (1)
  {
		HAL_GPIO_TogglePin(LED1_GPIO_Port, LED1_Pin);
		HAL_GPIO_TogglePin(LED2_GPIO_Port, LED2_Pin);
  }
  /* USER CODE END Error_Handler_Debug */
}
